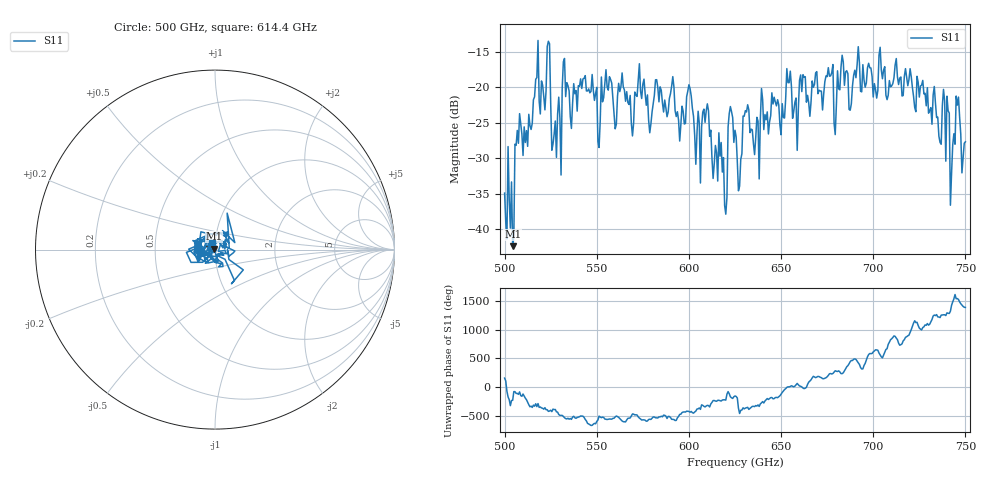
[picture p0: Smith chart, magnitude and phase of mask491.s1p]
!Created with skrf (http://scikit-rf.org).
# GHz S MA R 50.0
!freq magS11 angS11
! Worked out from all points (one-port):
!   401 points, 500 GHz to 750 GHz, reference 50 ohm
!   lowest |S11| = -42.4 dB at 504.4 GHz (marker M1), VSWR 1.02, Z = 49.5 + j0.586 ohm
!   |S11| at or under -10 dB: start of sweep to end of sweep
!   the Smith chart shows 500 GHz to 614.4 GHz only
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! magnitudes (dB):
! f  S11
! 500 GHz  -34.9
! 504.4 GHz  -42.4
! 506.9 GHz  -26.1
! 513.8 GHz  -25.4
! 516.9 GHz  -18.9
! 523.8 GHz  -13.5
! 526.9 GHz  -26.6
! 531.2 GHz  -20.1
! 562.5 GHz  -20.6
! 593.8 GHz  -23.4
! 600 GHz  -19.6
! 605 GHz  -23.4
! 609.4 GHz  -23.4
! 619.4 GHz  -36.6
! 622.5 GHz  -22.7
! 625 GHz  -26.0
! 627.5 GHz  -33.9
! 630.6 GHz  -23.3
! 636.9 GHz  -24.2
! 656.2 GHz  -24.4
! 683.8 GHz  -16.4
! 687.5 GHz  -23.2
! 691.2 GHz  -16.8
! 718.8 GHz  -19.8
! 739.4 GHz  -30.4
! 743.1 GHz  -28.1
! 746.2 GHz  -21.4
! 750 GHz  -27.7
